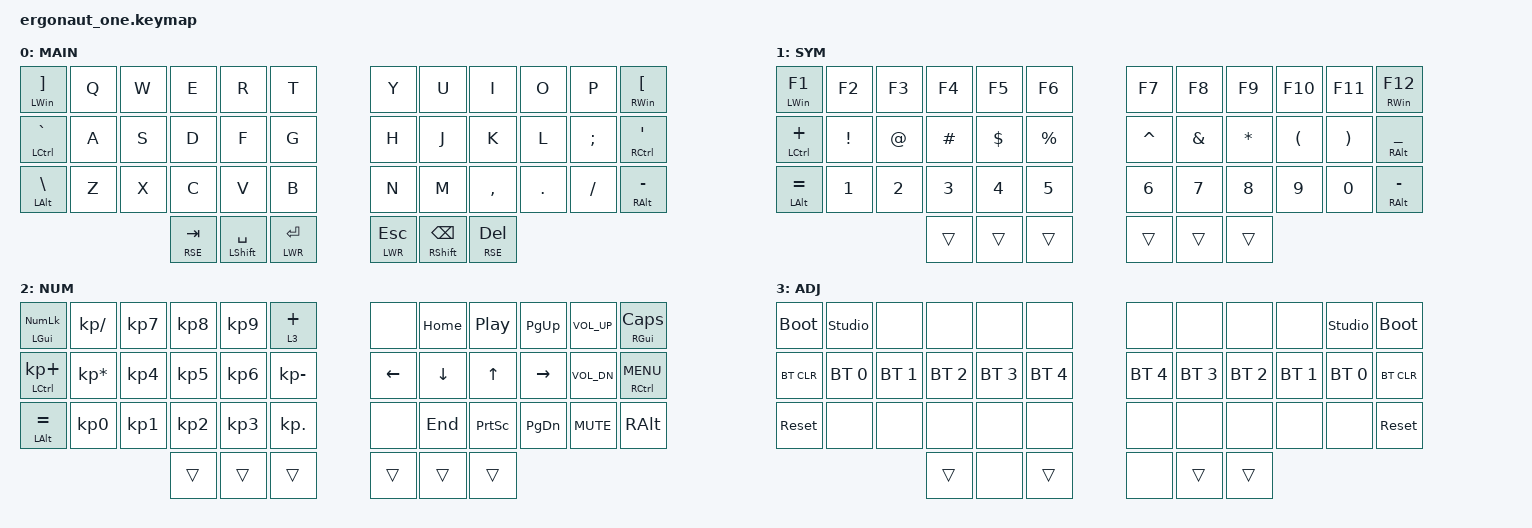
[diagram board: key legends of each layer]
#include <behaviors.dtsi>
#include <dt-bindings/zmk/keys.h>
#include <dt-bindings/zmk/bt.h>

#define DEF 0
#define LWR 1
#define RSE 2
#define ADJ 3

&lt {
    quick-tap-ms = <200>;
};

&mt {
    quick-tap-ms = <200>;
};

/ {
    conditional_layers {
        compatible = "zmk,conditional-layers";

        tri-layer {
            if-layers = <LWR RSE>;
            then-layer = <ADJ>;
        };
    };

    keymap {
        compatible = "zmk,keymap";

        default_layer {
            display-name = "MAIN";
                // ------------------------------------------------------------------------------------------------
                //| LGUI/] |  Q  |  W  |  E  |  R  |  T  |   |  Y  |  U   |  I  |  O  |  P  | RGUI/[ | 
                //| CTRL/` |  A  |  S  |  D  |  F  |  G  |   |  H  |  J   |  K  |  L  |  ;  | CTRL/' |
                //| LALT/\ |  Z  |  X  |  C  |  V  |  B  |   |  N  |  M   |  ,  |  .  |  /  | RALT/- |
                //                     | RSE | SPC | LWR |   | LWR | BKSP | RSE |
            bindings = <
                &mt LWIN RBKT    &kp Q  &kp W  &kp E        &kp R            &kp T         &kp Y  &kp U  &kp I           &kp O      &kp P     &mt RWIN LBKT
                &mt LCTRL GRAVE  &kp A  &kp S  &kp D        &kp F            &kp G         &kp H  &kp J  &kp K           &kp L      &kp SEMI  &mt RCTRL SQT
                &mt LALT BSLH    &kp Z  &kp X  &kp C        &kp V            &kp B         &kp N  &kp M  &kp COMMA       &kp DOT    &kp FSLH  &mt RALT MINUS
                                               &lt RSE TAB  &mt LSHFT SPACE  &lt LWR RET   &lt LWR ESC   &mt RSHFT BSPC  &lt RSE DEL
            >;
        };
        lower_layer {
            display-name = "SYM";
                // -----------------------------------------------------------------------------------------
                //|LGUI/F1 |  F2 |  F3 |  F4 |  F5 |  F6 |    |  F7 |  F8 |  F9 | F10 | F11 | RGUI/F12 |
                //|CTRL/+  |  !  |  @  |  #  |  $  |  %  |    |  ^  |  &  |  *  |  (  |  )  |    _     |
                //|LALT/=  |  1  |  2  |  3  |  4  |  5  |    |  6  |  7  |   8 |  9  |  0  | RALT/-   |
                //                     | ADJ | ___ | ___ |    | ___ | ___ | ADJ |
            bindings = <
                &mt LWIN F1     &kp F2    &kp F3  &kp F4     &kp F5      &kp F6       &kp F7     &kp F8    &kp F9    &kp F10    &kp F11   &mt RWIN F12
                &mt LCTRL PLUS  &kp EXCL  &kp AT  &kp HASH   &kp DOLLAR  &kp PERCENT  &kp CARET  &kp AMPS  &kp STAR  &kp LPAR   &kp RPAR  &mt RALT UNDER
                &mt LALT EQUAL  &kp N1    &kp N2  &kp N3     &kp N4      &kp N5       &kp N6     &kp N7    &kp N8    &kp N9     &kp N0    &mt RALT MINUS
                                                  &trans     &trans      &trans       &trans     &trans    &trans
            >;
        };

        raise_layer {
            display-name = "NUM";
                // -----------------------------------------------------------------------------------------
                //| LGUI/NL |  /  |  7  |  8  |  9  |  +  |            | ___  | HOME | PLAY | PGUP | VOLU | RGUI |
                //| CTRL/+  |  *  |  4  |  5  |  6  |  -  |            | RGHT | DOWN | UP   | LEFT | VOLD | CTRL | 
                //| LALT/=  |  0  |  1  |  2  |  3  |  .  |            | ___  | END  | PRNT | PGDN | MUTE | RALT |
                //                      | ___ | ___ | ADJ |            | ADJ  | ___  | ___ |
            bindings = <
                &mt LEFT_GUI KP_NUMLOCK  &kp KP_SLASH     &kp KP_N7  &kp KP_N8  &kp KP_N9  &lt 3 PLUS    &none     &kp HOME   &kp C_PP   &kp PG_UP  &kp C_VOL_UP  &mt RIGHT_GUI CAPS
                &mt LCTRL KP_PLUS        &kp KP_MULTIPLY  &kp KP_N4  &kp KP_N5  &kp KP_N6  &kp KP_MINUS  &kp LEFT  &kp DOWN   &kp UP     &kp RIGHT  &kp C_VOL_DN  &mt RCTRL K_MENU
                &mt LALT EQUAL           &kp KP_NUMBER_0  &kp KP_N1  &kp KP_N2  &kp KP_N3  &kp KP_DOT    &none     &kp END    &kp PSCRN  &kp PG_DN  &kp C_MUTE    &kp RALT
                                                                     &trans     &trans     &trans        &trans    &trans     &trans
            >;
        };
        adjust_layer {
            display-name = "ADJ";
                // -----------------------------------------------------------------------------------------
                //| BTLDR | STUDIO|     |     |     |     |   |     |     |     |     |STUDIO| BTLDR |
                //| BTCLR |  BT0  | BT1 | BT2 | BT3 | BT4 |   | BT4 | BT3 | BT2 | BT1 | BT0  | BTCLR |
                //| RESET | NUMLK |     |     |     |     |   |     |     |     |     |      | RESET |
                //    
            bindings = <
                &bootloader   &studio_unlock &none          &none          &none          &none          &none          &none          &none          &none          &studio_unlock &bootloader
                &bt BT_CLR    &bt BT_SEL 0   &bt BT_SEL 1   &bt BT_SEL 2   &bt BT_SEL 3   &bt BT_SEL 4   &bt BT_SEL 4   &bt BT_SEL 3   &bt BT_SEL 2   &bt BT_SEL 1   &bt BT_SEL 0   &bt BT_CLR
                &sys_reset    &none          &none          &none          &none          &none          &none          &none          &none          &none          &none          &sys_reset
                                                            &trans         &none          &trans         &none          &trans         &trans
            >;
        };
    };
};
